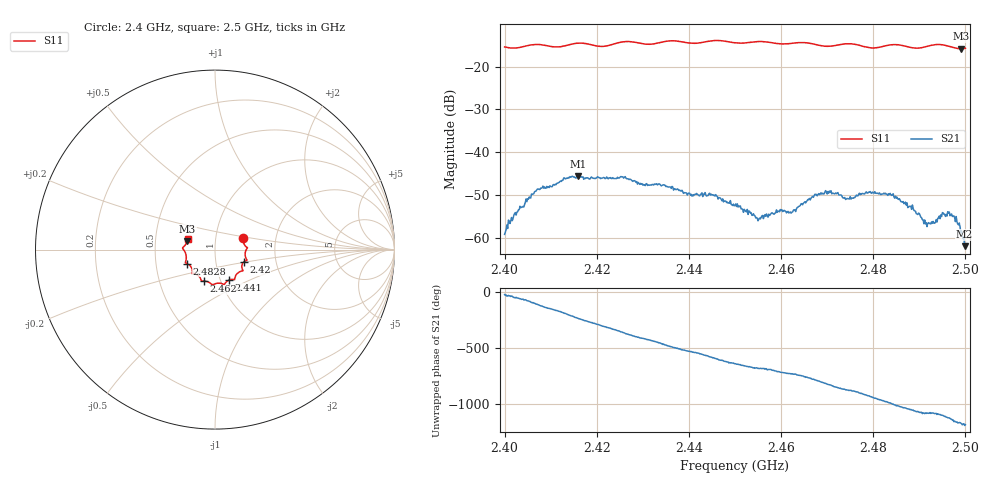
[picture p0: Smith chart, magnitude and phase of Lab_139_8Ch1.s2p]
# Hz S RI R 50
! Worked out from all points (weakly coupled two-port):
!   601 points, 2.4 GHz to 2.5 GHz, reference 50 ohm
!   highest |S21| = -45.62 dB at 2.416 GHz (marker M1); lowest = -62.0 dB at 2.4998 GHz (marker M2)
!   lowest |S11| = -15.8 dB at 2.499 GHz (marker M3), VSWR 1.38, Z = 36.5 + j3.48 ohm
!   |S11| at or under -10 dB: start of sweep to end of sweep
!   S12 and S22 are empty: the file has one direction only
!   S11 on the Smith chart (normalised r, x): 2.4 GHz: 1.36, +0.18; 2.42 GHz: 1.36, -0.20; 2.441 GHz: 1.10, -0.39; 2.462 GHz: 0.84, -0.30; 2.4828 GHz: 0.72, -0.12; 2.5 GHz: 0.73, +0.09
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2.4e9  0.1574 0.063  0.000977 -0.000491  0 0  0 0
2.407e9  0.1809 0.0101  -0.00137 -0.00337  0 0  0 0
2.416e9  0.1781 -0.0589  -0.00275 0.00445  0 0  0 0
2.416667e9  0.178 -0.06  -0.00198 0.00475  0 0  0 0
2.42e9  0.1593 -0.0697  0.00168 0.00473  0 0  0 0
2.433333e9  0.1126 -0.1511  -9.5e-05 -0.00421  0 0  0 0
2.441e9  0.0783 -0.1695  -0.00309 -0.000132  0 0  0 0
2.445333e9  0.0525 -0.1938  -0.00215 0.00226  0 0  0 0
2.45e9  0.0285 -0.1871  0.000388 0.00235  0 0  0 0
2.455e9  -0.0116 -0.1955  0.00123 0.000978  0 0  0 0
2.462e9  -0.0604 -0.1755  0.00199 -0.000255  0 0  0 0
2.466667e9  -0.0779 -0.1681  0.00168 -0.00244  0 0  0 0
2.47e9  -0.0951 -0.1435  -0.000559 -0.00319  0 0  0 0
2.474333e9  -0.1257 -0.1351  -0.00255 -0.00132  0 0  0 0
2.482833e9  -0.1576 -0.0774  -0.000839 0.00312  0 0  0 0
2.483333e9  -0.1606 -0.076  -0.000385 0.00324  0 0  0 0
2.488333e9  -0.1599 -0.0455  0.00185 0.00109  0 0  0 0
2.4915e9  -0.1708 -0.00636  0.0015 8.53e-06  0 0  0 0
2.496667e9  -0.17 0.0202  0.00129 -0.00127  0 0  0 0
2.499e9  -0.1544 0.0464  9.42e-05 -0.00115  0 0  0 0
2.499833e9  -0.1519 0.0586  -0.000222 -0.000764  0 0  0 0
2.5e9  -0.1516 0.0611  -0.000145 -0.00083  0 0  0 0
